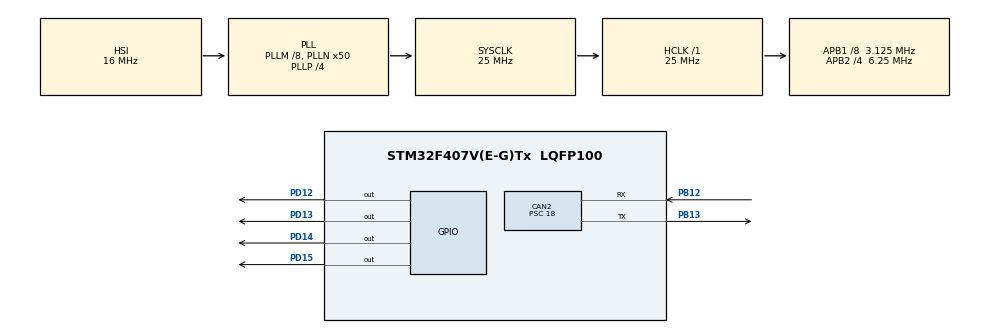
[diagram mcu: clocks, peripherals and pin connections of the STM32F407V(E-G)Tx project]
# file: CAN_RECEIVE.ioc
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CAN2.BS1=CAN_BS1_2TQ
CAN2.CalculateBaudRate=43402
CAN2.CalculateTimeBit=23040
CAN2.CalculateTimeQuantum=5760.0
CAN2.Prescaler=18
Mcu.Family=STM32F4
Mcu.Name=STM32F407V(E-G)Tx
Mcu.Package=LQFP100
NVIC.CAN2_RX0_IRQn=true\:0\:0\:false\:false\:true\:true\:true\:true
NVIC.PriorityGroup=NVIC_PRIORITYGROUP_0
PB12.Mode=CAN_Activate
PB12.Signal=CAN2_RX
PB13.Mode=CAN_Activate
PB13.Signal=CAN2_TX
PD12.Signal=GPIO_Output
PD13.Signal=GPIO_Output
PD14.Signal=GPIO_Output
PD15.Signal=GPIO_Output
ProjectManager.HeapSize=0x200
ProjectManager.StackSize=0x400
ProjectManager.TargetToolchain=STM32CubeIDE
RCC.48MHZClocksFreq_Value=14285714.285714285
RCC.AHBFreq_Value=25000000
RCC.APB1CLKDivider=RCC_HCLK_DIV8
RCC.APB1Freq_Value=3125000
RCC.APB1TimFreq_Value=6250000
RCC.APB2CLKDivider=RCC_HCLK_DIV4
RCC.APB2Freq_Value=6250000
RCC.APB2TimFreq_Value=12500000
RCC.CortexFreq_Value=25000000
RCC.HCLKFreq_Value=25000000
RCC.HSE_VALUE=8000000
RCC.HSI_VALUE=16000000
RCC.PLLM=8
RCC.PLLN=50
RCC.PLLP=RCC_PLLP_DIV4
RCC.PLLQ=7
RCC.SYSCLKFreq_VALUE=25000000
RCC.SYSCLKSource=RCC_SYSCLKSOURCE_PLLCLK
RCC.VCOOutputFreq_Value=100000000
board=STM32F407G-DISC1

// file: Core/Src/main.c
/* USER CODE BEGIN Header */
/**
  ******************************************************************************
  * @file           : main.c
  * @brief          : Main program body
  ******************************************************************************
  * @attention
  *
  * Copyright (c) 2025 STMicroelectronics.
  * All rights reserved.
  *
  * This software is licensed under terms that can be found in the LICENSE file
  * in the root directory of this software component.
  * If no LICENSE file comes with this software, it is provided AS-IS.
  *
  ******************************************************************************
  */
/* USER CODE END Header */
#include "main.h"

/* USER CODE BEGIN Includes */
#include"string.h"
/* USER CODE END Includes */

CAN_HandleTypeDef hcan2;

void SystemClock_Config(void);
static void MX_GPIO_Init(void);
static void MX_CAN2_Init(void);

/* USER CODE BEGIN 0 */
CAN_RxHeaderTypeDef RxHeader;
uint8_t RxData[5];

void HAL_CAN_RxFifo0MsgPendingCallback(CAN_HandleTypeDef *hcan){
	memset(RxData,0,sizeof(RxData));
	HAL_GPIO_WritePin(GPIOD, GPIO_PIN_14,GPIO_PIN_SET);
	HAL_CAN_GetRxMessage(&hcan2, CAN_RX_FIFO0, &RxHeader, RxData);
}
/* USER CODE END 0 */

int main(void)
{

  /* MCU Configuration--------------------------------------------------------*/

  /* Reset of all peripherals, Initializes the Flash interface and the Systick. */
  HAL_Init();

  /* Configure the system clock */
  SystemClock_Config();

  /* Initialize all configured peripherals */
  MX_GPIO_Init();
  MX_CAN2_Init();
  /* USER CODE BEGIN 2 */
HAL_CAN_Start(&hcan2);
HAL_CAN_ActivateNotification(&hcan2, CAN_IT_RX_FIFO0_MSG_PENDING);
HAL_Delay(100);
HAL_Delay(100);
  /* USER CODE END 2 */

  /* Infinite loop */
  while (1)
  {

    /* USER CODE BEGIN 3 */
	  if(RxData[0]!=0)
	  {
		  HAL_GPIO_WritePin(GPIOD, GPIO_PIN_12,GPIO_PIN_SET);
		  HAL_GPIO_WritePin(GPIOD, GPIO_PIN_13,GPIO_PIN_SET);
		  HAL_Delay(2000);
		  HAL_GPIO_WritePin(GPIOD, GPIO_PIN_12,GPIO_PIN_RESET);
		  HAL_GPIO_WritePin(GPIOD, GPIO_PIN_13,GPIO_PIN_RESET);
	  }
  }
  /* USER CODE END 3 */
}

void SystemClock_Config(void)
{
  RCC_OscInitTypeDef RCC_OscInitStruct = {0};
  RCC_ClkInitTypeDef RCC_ClkInitStruct = {0};

  /** Configure the main internal regulator output voltage
  */
  __HAL_RCC_PWR_CLK_ENABLE();
  __HAL_PWR_VOLTAGESCALING_CONFIG(PWR_REGULATOR_VOLTAGE_SCALE1);

  /** Initializes the RCC Oscillators according to the specified parameters
  * in the RCC_OscInitTypeDef structure.
  */
  RCC_OscInitStruct.OscillatorType = RCC_OSCILLATORTYPE_HSI;
  RCC_OscInitStruct.HSIState = RCC_HSI_ON;
  RCC_OscInitStruct.HSICalibrationValue = RCC_HSICALIBRATION_DEFAULT;
  RCC_OscInitStruct.PLL.PLLState = RCC_PLL_ON;
  RCC_OscInitStruct.PLL.PLLSource = RCC_PLLSOURCE_HSI;
  RCC_OscInitStruct.PLL.PLLM = 8;
  RCC_OscInitStruct.PLL.PLLN = 50;
  RCC_OscInitStruct.PLL.PLLP = RCC_PLLP_DIV4;
  RCC_OscInitStruct.PLL.PLLQ = 7;
  if (HAL_RCC_OscConfig(&RCC_OscInitStruct) != HAL_OK)
  {
    Error_Handler();
  }

  /** Initializes the CPU, AHB and APB buses clocks
  */
  RCC_ClkInitStruct.ClockType = RCC_CLOCKTYPE_HCLK|RCC_CLOCKTYPE_SYSCLK
                              |RCC_CLOCKTYPE_PCLK1|RCC_CLOCKTYPE_PCLK2;
  RCC_ClkInitStruct.SYSCLKSource = RCC_SYSCLKSOURCE_PLLCLK;
  RCC_ClkInitStruct.AHBCLKDivider = RCC_SYSCLK_DIV1;
  RCC_ClkInitStruct.APB1CLKDivider = RCC_HCLK_DIV8;
  RCC_ClkInitStruct.APB2CLKDivider = RCC_HCLK_DIV4;

  if (HAL_RCC_ClockConfig(&RCC_ClkInitStruct, FLASH_LATENCY_0) != HAL_OK)
  {
    Error_Handler();
  }
}

static void MX_CAN2_Init(void)
{

  /* USER CODE BEGIN CAN2_Init 1 */
	__HAL_RCC_CAN1_CLK_ENABLE();
	__HAL_RCC_CAN2_CLK_ENABLE();
  /* USER CODE END CAN2_Init 1 */
  hcan2.Instance = CAN2;
  hcan2.Init.Prescaler = 18;
  hcan2.Init.Mode = CAN_MODE_NORMAL;
  hcan2.Init.SyncJumpWidth = CAN_SJW_1TQ;
  hcan2.Init.TimeSeg1 = CAN_BS1_2TQ;
  hcan2.Init.TimeSeg2 = CAN_BS2_1TQ;
  hcan2.Init.TimeTriggeredMode = DISABLE;
  hcan2.Init.AutoBusOff = DISABLE;
  hcan2.Init.AutoWakeUp = DISABLE;
  hcan2.Init.AutoRetransmission = DISABLE;
  hcan2.Init.ReceiveFifoLocked = DISABLE;
  hcan2.Init.TransmitFifoPriority = DISABLE;
  if (HAL_CAN_Init(&hcan2) != HAL_OK)
  {
    Error_Handler();
  }
  /* USER CODE BEGIN CAN2_Init 2 */
  CAN_FilterTypeDef canFilterConfig;
    canFilterConfig.FilterActivation=CAN_FILTER_ENABLE;
    canFilterConfig.SlaveStartFilterBank=14;
    canFilterConfig.FilterBank=2;
    canFilterConfig.FilterFIFOAssignment=CAN_RX_FIFO0;
    canFilterConfig.FilterScale=CAN_FILTERSCALE_32BIT;
    canFilterConfig.FilterMode=CAN_FILTERMODE_IDMASK;
    canFilterConfig.FilterMaskIdLow=0x0000;
    canFilterConfig.FilterMaskIdHigh=0xFF00;
    canFilterConfig.FilterIdHigh     = 0x150 << 5;
    canFilterConfig.FilterIdLow      = 0x0000;
    canFilterConfig.FilterMaskIdHigh = 0x7FF << 5;  // Match all 11 bits
    canFilterConfig.FilterMaskIdLow  = 0x0000;
    HAL_CAN_ConfigFilter(&hcan2, &canFilterConfig);
  /* USER CODE END CAN2_Init 2 */

}

static void MX_GPIO_Init(void)
{
  GPIO_InitTypeDef GPIO_InitStruct = {0};

  /* GPIO Ports Clock Enable */
  __HAL_RCC_GPIOB_CLK_ENABLE();
  __HAL_RCC_GPIOD_CLK_ENABLE();

  /*Configure GPIO pin Output Level */
  HAL_GPIO_WritePin(GPIOD, GPIO_PIN_12|GPIO_PIN_13|GPIO_PIN_14|GPIO_PIN_15, GPIO_PIN_RESET);

  /*Configure GPIO pins : PD12 PD13 PD14 PD15 */
  GPIO_InitStruct.Pin = GPIO_PIN_12|GPIO_PIN_13|GPIO_PIN_14|GPIO_PIN_15;
  GPIO_InitStruct.Mode = GPIO_MODE_OUTPUT_PP;
  GPIO_InitStruct.Pull = GPIO_NOPULL;
  GPIO_InitStruct.Speed = GPIO_SPEED_FREQ_LOW;
  HAL_GPIO_Init(GPIOD, &GPIO_InitStruct);

}

void Error_Handler(void)
{
  __disable_irq();
  while (1)
  {
  }
}
